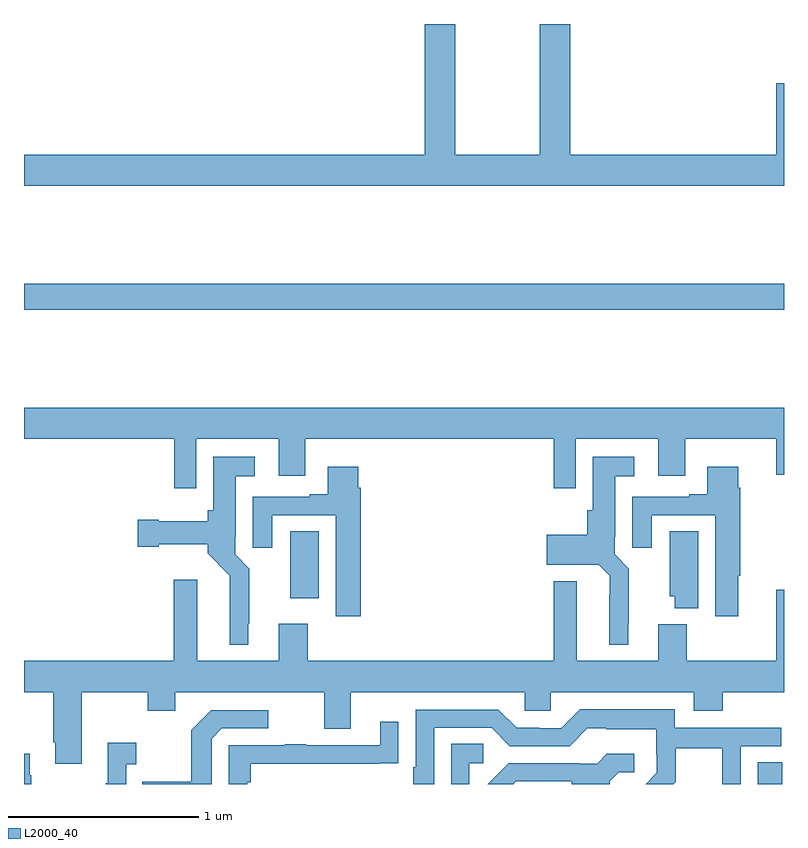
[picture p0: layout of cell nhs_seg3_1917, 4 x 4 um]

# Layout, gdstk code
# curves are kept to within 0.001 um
import gdstk
lib = gdstk.Library(unit=1e-6, precision=1e-09)
def R(c, l, rs):  # rectangles x0, y0, x1, y1
    for r in rs: c.add(gdstk.rectangle(r[:2], r[2:], *l))
def P(c, l, *ps):  # polygons
    for p in ps: c.add(gdstk.Polygon(p, *l))
L2000_40 = (2000, 40)

nhs_seg3_1917 = lib.new_cell('nhs_seg3_1917')
R(nhs_seg3_1917, L2000_40, [(212.861,732.4,212.992,732.515), (210.401,733.377,210.55,733.73), (209,734.896,213,735.032)])
P(nhs_seg3_1917, L2000_40, [(213,736.087),(212.96,736.087),(212.96,735.712),(211.874,735.712),(211.874,736.4),(211.714,736.4),(211.714,735.712),(211.269,735.712),(211.269,736.4),(211.109,736.4),(211.109,735.712),(209,735.712),(209,735.548),(213,735.548)],
  [(209,734.216),(209.791,734.216),(209.791,733.956),(209.907,733.956),(209.907,734.216),(210.341,734.216),(210.341,734.022),(210.481,734.022),(210.481,734.216),(211.789,734.216),(211.789,733.956),(211.905,733.956),(211.905,734.216),(212.339,734.216),(212.339,734.022),(212.479,734.022),(212.479,734.216),(212.96,734.216),(212.96,734.028),(213,734.028),(213,734.38),(209,734.38)],
  [(210.181,733.243),(210.185,733.243),(210.185,733.534),(210.111,733.608),(210.111,733.702),(210.115,733.702),(210.115,734.021),(210.214,734.021),(210.214,734.122),(209.996,734.122),(209.996,733.842),(209.966,733.842),(209.966,733.783),(209.71,733.783),(209.71,733.791),(209.598,733.791),(209.598,733.649),(209.71,733.649),(209.71,733.661),(209.966,733.661),(209.966,733.614),(210.084,733.496),(210.083,733.133),(210.181,733.133)],
  [(212.179,733.243),(212.183,733.243),(212.183,733.534),(212.109,733.608),(212.109,733.702),(212.113,733.702),(212.113,734.021),(212.212,734.021),(212.212,734.122),(211.994,734.122),(211.994,733.842),(211.964,733.842),(211.964,733.711),(211.752,733.711),(211.752,733.553),(212.025,733.553),(212.082,733.496),(212.081,733.133),(212.179,733.133)],
  [(210.773,733.958),(210.76,733.958),(210.76,734.071),(210.599,734.071),(210.599,733.924),(210.503,733.924),(210.503,733.911),(210.203,733.911),(210.203,733.644),(210.307,733.644),(210.307,733.815),(210.641,733.815),(210.641,733.284),(210.773,733.284)],
  [(212.758,733.496),(212.771,733.496),(212.771,733.958),(212.758,733.958),(212.758,734.071),(212.597,734.071),(212.597,733.924),(212.501,733.924),(212.501,733.911),(212.201,733.911),(212.201,733.644),(212.305,733.644),(212.305,733.815),(212.639,733.815),(212.639,733.284),(212.758,733.284)],
  [(212.548,733.73),(212.399,733.73),(212.399,733.389),(212.426,733.389),(212.426,733.325),(212.548,733.325)],
  [(209.305,732.884),(209.65,732.884),(209.65,732.785),(209.797,732.785),(209.797,732.884),(210.581,732.884),(210.581,732.69),(210.721,732.69),(210.721,732.884),(211.635,732.884),(211.635,732.786),(211.773,732.786),(211.773,732.884),(212.525,732.884),(212.525,732.785),(212.678,732.785),(212.678,732.884),(213,732.884),(213,733.423),(212.96,733.423),(212.96,733.048),(212.487,733.048),(212.487,733.24),(212.339,733.24),(212.339,733.048),(211.909,733.048),(211.909,733.468),(211.787,733.468),(211.787,733.048),(210.494,733.048),(210.494,733.243),(210.341,733.243),(210.341,733.048),(209.911,733.048),(209.911,733.474),(209.789,733.474),(209.789,733.048),(209,733.048),(209,732.884),(209.153,732.884),(209.153,732.619),(209.165,732.619),(209.165,732.507),(209.305,732.507)],
  [(211.158,732.696),(211.461,732.696),(211.557,732.6),(211.872,732.6),(211.965,732.693),(212.065,732.693),(212.065,732.689),(212.328,732.689),(212.328,732.555),(212.33,732.555),(212.33,732.458),(212.272,732.4),(212.416,732.4),(212.429,732.413),(212.429,732.588),(212.674,732.588),(212.674,732.4),(212.772,732.4),(212.772,732.6),(212.986,732.6),(212.986,732.696),(212.424,732.696),(212.424,732.793),(211.927,732.793),(211.827,732.693),(211.712,732.693),(211.712,732.696),(211.593,732.696),(211.497,732.792),(211.062,732.792),(211.062,732.487),(211.049,732.487),(211.049,732.4),(211.158,732.4)],
  [(209.988,732.639),(210.042,732.693),(210.286,732.693),(210.286,732.789),(209.985,732.789),(209.88,732.683),(209.88,732.411),(209.623,732.411),(209.623,732.4),(209.988,732.4)],
  [(210.174,732.41),(210.194,732.41),(210.194,732.507),(210.869,732.507),(210.869,732.508),(210.971,732.508),(210.971,732.727),(210.875,732.727),(210.875,732.603),(210.485,732.603),(210.485,732.608),(210.373,732.608),(210.373,732.603),(210.078,732.603),(210.078,732.4),(210.174,732.4)],
  [(209.538,732.503),(209.59,732.503),(209.59,732.616),(209.441,732.616),(209.441,732.403),(209.43,732.403),(209.43,732.4),(209.538,732.4)],
  [(211.344,732.51),(211.417,732.51),(211.417,732.611),(211.248,732.611),(211.248,732.4),(211.344,732.4)],
  [(209.037,732.446),(209.029,732.446),(209.029,732.559),(209,732.559),(209,732.4),(209.037,732.4)],
  [(211.588,732.414),(211.883,732.414),(211.883,732.4),(212.083,732.4),(212.083,732.415),(212.13,732.462),(212.212,732.462),(212.212,732.559),(212.068,732.559),(212.016,732.507),(211.922,732.507),(211.922,732.51),(211.55,732.51),(211.44,732.4),(211.574,732.4)])

lib.write_gds('nhs_seg3_1917.gds')
